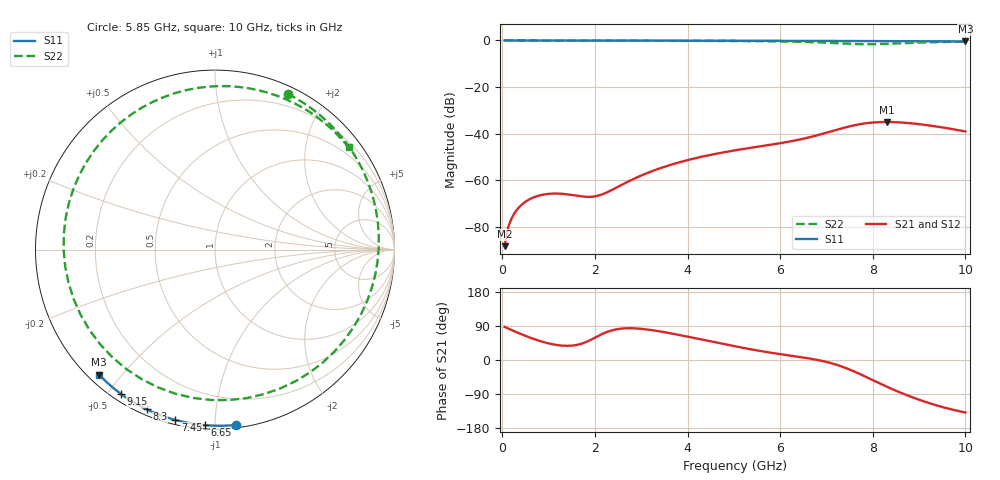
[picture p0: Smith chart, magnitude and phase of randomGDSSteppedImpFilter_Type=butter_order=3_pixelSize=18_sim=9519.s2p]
! freq	dB(S11)	phase(S11)	dB(S12)	phase(S12)
!  dB(S21)	phase(S21)	dB(S22)	phase(S22)
!S-par simulation data
#  GHz  S  DB  R 50
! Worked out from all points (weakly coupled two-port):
!   200 points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, 50 MHz to 10 GHz, reference 50 ohm
!   highest |S21| = -35.00 dB at 8.3 GHz (marker M1); lowest = -88.3 dB at 50 MHz (marker M2)
!   lowest |S11| = -0.4 dB at 10 GHz (marker M3), VSWR 38.98, Z = 1.53 - j21.9 ohm
!   |S11| at or under -10 dB: nowhere
!   |S22| runs from -1.6 to 0.0 dB; largest |S21 - S12| = 0
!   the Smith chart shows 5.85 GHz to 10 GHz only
!   S11 on the Smith chart (normalised r, x): 5.85 GHz: 0.02, -1.12; 6.65 GHz: 0.02, -0.94; 7.45 GHz: 0.02, -0.79; 8.3 GHz: 0.02, -0.66; 9.15 GHz: 0.03, -0.54; 10 GHz: 0.03, -0.44
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0.05  -0.00 -0.8  -88.33 87.2  -88.33 87.2  -0.00 -4.8
0.4  -0.01 -6.1  -70.86 68.6  -70.86 68.6  -0.05 -37.4
0.8  -0.02 -12.2  -66.57 50.7  -66.57 50.7  -0.08 -70.9
1.2  -0.02 -18.2  -65.75 39.2  -65.75 39.2  -0.10 -99.2
1.75  -0.03 -26.5  -67.04 44.6  -67.04 44.6  -0.11 -130.6
2.5  -0.05 -37.5  -62.83 81.8  -62.83 81.8  -0.12 -164.1
3.4  -0.07 -50.4  -54.93 75.6  -54.93 75.6  -0.15 162.5
4.2  -0.09 -61.5  -50.41 56.7  -50.41 56.7  -0.18 134.3
5.05  -0.11 -72.9  -47.10 35.5  -47.10 35.5  -0.25 102.0
5.85  -0.14 -83.3  -44.60 18.2  -44.60 18.2  -0.38 65.0
6.25  -0.16 -88.4  -43.23 11.0  -43.23 11.0  -0.50 41.7
6.65  -0.18 -93.4  -41.50 3.6  -41.50 3.6  -0.70 13.0
6.7  -0.18 -94.0  -41.25 2.6  -41.25 2.6  -0.73 8.9
7.1  -0.20 -98.9  -39.05 -8.3  -39.05 -8.3  -1.06 -29.2
7.45  -0.23 -103.1  -37.12 -22.7  -37.12 -22.7  -1.41 -71.1
7.8  -0.25 -107.3  -35.70 -41.4  -35.70 -41.4  -1.62 -119.3
8.05  -0.27 -110.2  -35.16 -56.0  -35.16 -56.0  -1.60 -154.0
8.3  -0.29 -113.2  -35.00 -70.3  -35.00 -70.3  -1.44 174.0
8.35  -0.29 -113.8  -35.01 -73.0  -35.01 -73.0  -1.41 168.1
8.75  -0.32 -118.4  -35.44 -93.5  -35.44 -93.5  -1.09 126.1
9.15  -0.36 -123.0  -36.31 -111.1  -36.31 -111.1  -0.83 92.5
10  -0.45 -132.7  -39.09 -138.5  -39.09 -138.5  -0.57 37.4
